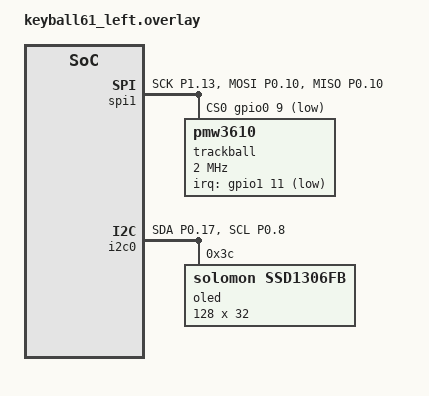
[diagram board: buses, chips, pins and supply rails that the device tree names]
/*
 * Copyright (c) 2020 ZMK Contributors
 *
 * SPDX-License-Identifier: MIT
 */
#include <input/processors.dtsi>
#include <behaviors/input_gestures_accel.dtsi>
#include <dt-bindings/zmk/input_transform.h>
#include <dt-bindings/zmk/keys.h>
#include <scroll-snap.dtsi>
#include "keyball61.dtsi"

&kscan0 {
    row-gpios
        = <&pro_micro 3 (GPIO_ACTIVE_HIGH | GPIO_PULL_DOWN)>
        , <&pro_micro 4 (GPIO_ACTIVE_HIGH | GPIO_PULL_DOWN)>
        , <&pro_micro 5 (GPIO_ACTIVE_HIGH | GPIO_PULL_DOWN)>
        , <&pro_micro 6 (GPIO_ACTIVE_HIGH | GPIO_PULL_DOWN)>
	, <&pro_micro 7 (GPIO_ACTIVE_HIGH | GPIO_PULL_DOWN)>
        ;
    
	col-gpios
        = <&pro_micro 21  GPIO_ACTIVE_HIGH>
        , <&pro_micro 20  GPIO_ACTIVE_HIGH>
        , <&pro_micro 19 GPIO_ACTIVE_HIGH>
	, <&pro_micro 18 GPIO_ACTIVE_HIGH>
	, <&pro_micro 8 GPIO_ACTIVE_HIGH>
	, <&pro_micro 9 GPIO_ACTIVE_HIGH>
	;
};

&pinctrl {
    spi1_default: spi1_default {
        group1 {
            psels = <NRF_PSEL(SPIM_SCK, 1, 13)>,
                <NRF_PSEL(SPIM_MOSI, 0, 10)>,
                <NRF_PSEL(SPIM_MISO, 0, 10)>;
        };
    };

    spi1_sleep: spi1_sleep {
        group1 {
            psels = <NRF_PSEL(SPIM_SCK, 1, 13)>,
                <NRF_PSEL(SPIM_MOSI, 0, 10)>,
                <NRF_PSEL(SPIM_MISO, 0, 10)>;
            low-power-enable;
        };
    };
};

&spi1 {
    status = "okay";
    compatible = "nordic,nrf-spim";
    pinctrl-0 = <&spi1_default>;
    pinctrl-1 = <&spi1_sleep>;
    pinctrl-names = "default", "sleep";
    cs-gpios = <&gpio0 9 GPIO_ACTIVE_LOW>;

    trackball: trackball@0 {
        status = "okay";
        compatible = "zmk,pmw3610";
        reg = <0>;
        spi-max-frequency = <2000000>;
        irq-gpios = <&gpio1 11 (GPIO_ACTIVE_LOW | GPIO_PULL_UP)>;
        // automouse-layer = <1>;  // Input Processorを使用するため無効化
        // scroll-layers = <3>;
        // snipe-layers = <7>;
    };
};

&pinctrl {
    i2c0_default: i2c0_default {
        group1 {
            psels = <NRF_PSEL(TWIM_SDA, 0, 17)>,
                    <NRF_PSEL(TWIM_SCL, 0, 8)>;
        };
    };

    i2c0_sleep: i2c0_sleep {
        group1 {
            psels = <NRF_PSEL(TWIM_SDA, 0, 17)>,
                    <NRF_PSEL(TWIM_SCL, 0, 8)>;
            low-power-enable;
        };
    };
};

&i2c0 {
    status = "okay";
    compatible = "nordic,nrf-twi";
    pinctrl-0 = <&i2c0_default>;
    pinctrl-1 = <&i2c0_sleep>;
    pinctrl-names = "default", "sleep";

    oled: ssd1306@3c {
        compatible = "solomon,ssd1306fb";
        reg = <0x3c>;
        width = <128>;
        height = <32>;
        segment-offset = <0>;
        page-offset = <0>;
        display-offset = <0>;
        multiplex-ratio = <31>;
        segment-remap;
        com-invdir;
        com-sequential;
        inversion-on;
        prechargep = <0x22>;
    };
};

&zip_temp_layer {
    require-prior-idle-ms = <400>;  // トラックボール入力からms後にAML有効化（誤爆防止）
    // マウスキー以外のキーを押してマウスレイヤー自動解除 下記のキーをマウスキーとして除外。値はコンボキーの設定から参照するとよい
    excluded-positions = <
        27
        28
    >;
};

&pointer_accel {
    // https://github.com/oleksandrmaslov/zmk-pointing-acceleration?tab=readme-ov-file#general-use
    input-type = <INPUT_EV_REL>; // For relative input devices
    min-factor = <500>;        // ゆっくり動かしたときの倍率 1000 = 1x
    max-factor = <8000>;       // 速く動かしたときの倍率 1000 = 1x
    speed-threshold = <1200>;  // 加速が始まる速度（counts/sec）
    speed-max = <6000>;          // 最大加速度に達する速度 （counts/sec）
    acceleration-exponent = <5>; // 加速速度をコントロール 1 = 線形(滑らかで緩やかな加速) 2 = 二次(加速度がより速く増加) 3 = 立方次(非常に急速な加速度増加)
    track-remainders;          // 細かい動きを蓄積して反映
};

/ {
    // トラックボールの動きを矢印キーに変換するプロセッサ（ゲーム用）
    zip_keybind_arrows: zip_keybind_arrows {
        compatible = "zmk,input-processor-keybind";
        #input-processor-cells = <0>;
        mode = <1>;  // 4方向モード
        // 順序: Right, Left, Down, Up（LeftBallのためUp/Downを入れ替えてY軸反転を補正）
        bindings = <&kp RIGHT>, <&kp LEFT>, <&kp UP>, <&kp DOWN>;
        tick = <1>;                    // 1回入力に必要な移動量（小さいほど敏感＝速い）
        tap-ms = <40>;                 // キータップ間隔(ms)。長いほどゆっくり転がしても安定ホールド
        continuous_key_press;          // キーホールドモード（ゲーム向き：押しっぱなし判定）
        max_pending_activations = <1>; // delta蓄積上限=1回分。慣性による蓄積を防止
        // Why: track_remaindersを意図的に省略（デフォルトfalse）
        // delta毎cycle消去→ボール停止後5ms以内にキーリリース
        // continuous_key_pressのリリース漏れバグの影響を最小化
    };

    trackball_listener {
        compatible = "zmk,input-listener";
        device = <&trackball>;
        // Input Processors
        // pointer_accel: ポインター加速
        // zip_temp_layer: オートマウスレイヤー param: 切り替えるレイヤー番号 持続時間(ms)
        input-processors = <
            &pointer_accel 
            &zip_temp_layer 3 3000
        >;
        // snipe {
        //         layers = <7>;
        //         input-processors = <&zip_xy_scaler 1 3>;
        // };

        // ゲームレイヤー(10): トラックボールを方向キーに変換し、カーソル移動を無効化
        // Why: process-next省略（デフォルトfalse）でデフォルトプロセッサ（pointer_accel等）の実行を阻止
        // pointer_accelがdeltaを増幅→keybindのdelta蓄積→キー押しっぱなしの原因だった
        game {
                layers = <10>;
                input-processors = <
                    &zip_keybind_arrows
                >;
        };

        // スクロールレイヤーの設定
        // &zip_scroll_x_scaler はパラメーターを2つ受け取り、1つ目が分子、2つ目が分母となる。 例えば、&zip_xy_scaler 3 2なら、CPIが1.5倍 (3/2倍)になり、&zip_xy_scaler 1 3とすれば0.333倍(1/3倍)になる。
        scroll {
                layers = <4 5>;
                input-processors = <
                    &zip_xy_to_scroll_mapper
                    &zip_scroll_transform INPUT_TRANSFORM_Y_INVERT
                    &zip_scroll_scaler 1 8
                    &zip_scroll_snap
                >;
        };
    };
};
